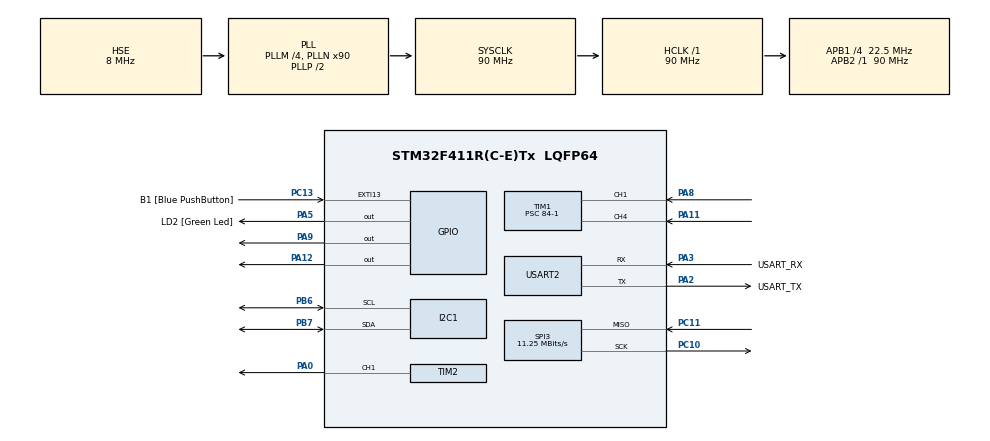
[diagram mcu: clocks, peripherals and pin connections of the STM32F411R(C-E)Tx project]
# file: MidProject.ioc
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Mcu.Family=STM32F4
Mcu.Name=STM32F411R(C-E)Tx
Mcu.Package=LQFP64
NVIC.PriorityGroup=NVIC_PRIORITYGROUP_0
NVIC.TIM1_CC_IRQn=true\:0\:0\:false\:false\:true\:true\:true
PA0-WKUP.Signal=S_TIM2_CH1_ETR
PA11.Signal=S_TIM1_CH4
PA12.Signal=GPIO_Output
PA13.GPIO_Label=TMS
PA13.Mode=Serial_Wire
PA13.Signal=SYS_JTMS-SWDIO
PA14.GPIO_Label=TCK
PA14.Mode=Serial_Wire
PA14.Signal=SYS_JTCK-SWCLK
PA2.GPIO_Label=USART_TX
PA2.Mode=Asynchronous
PA2.Signal=USART2_TX
PA3.GPIO_Label=USART_RX
PA3.Mode=Asynchronous
PA3.Signal=USART2_RX
PA5.GPIO_Label=LD2 [Green Led]
PA5.Signal=GPIO_Output
PA8.Signal=S_TIM1_CH1
PA9.Signal=GPIO_Output
PB3.GPIO_Label=SWO
PB3.Signal=SYS_JTDO-SWO
PB6.Mode=I2C
PB6.Signal=I2C1_SCL
PB7.Mode=I2C
PB7.Signal=I2C1_SDA
PC10.Mode=RX_Only_Simplex_Unidirect_Master
PC10.Signal=SPI3_SCK
PC11.Mode=RX_Only_Simplex_Unidirect_Master
PC11.Signal=SPI3_MISO
PC13-ANTI_TAMP.GPIO_Label=B1 [Blue PushButton]
PC13-ANTI_TAMP.GPIO_ModeDefaultEXTI=GPIO_MODE_IT_FALLING
PC13-ANTI_TAMP.Signal=GPXTI13
PC14-OSC32_IN.Mode=LSE-External-Oscillator
PC14-OSC32_IN.Signal=RCC_OSC32_IN
PC15-OSC32_OUT.Mode=LSE-External-Oscillator
PC15-OSC32_OUT.Signal=RCC_OSC32_OUT
PH0\ -\ OSC_IN.Mode=HSE-External-Clock-Source
PH0\ -\ OSC_IN.Signal=RCC_OSC_IN
PH1\ -\ OSC_OUT.Mode=HSE-External-Clock-Source
PH1\ -\ OSC_OUT.Signal=RCC_OSC_OUT
ProjectManager.HeapSize=0x200
ProjectManager.StackSize=0x400
ProjectManager.TargetToolchain=STM32CubeIDE
RCC.48MHZClocksFreq_Value=45000000
RCC.AHBFreq_Value=90000000
RCC.APB1CLKDivider=RCC_HCLK_DIV4
RCC.APB1Freq_Value=22500000
RCC.APB1TimFreq_Value=45000000
RCC.APB2Freq_Value=90000000
RCC.APB2TimFreq_Value=90000000
RCC.CortexFreq_Value=90000000
RCC.FLatency-AdvancedSettings=FLASH_LATENCY_2
RCC.HCLKFreq_Value=90000000
RCC.HSE_VALUE=8000000
RCC.HSI_VALUE=16000000
RCC.PLLM=4
RCC.PLLN=90
RCC.PLLSourceVirtual=RCC_PLLSOURCE_HSE
RCC.SYSCLKFreq_VALUE=90000000
RCC.SYSCLKSource=RCC_SYSCLKSOURCE_PLLCLK
RCC.VCOOutputFreq_Value=180000000
SH.S_TIM1_CH1.0=TIM1_CH1,Input_Capture1_from_TI1
SH.S_TIM1_CH4.0=TIM1_CH4,Input_Capture4_from_TI4
SH.S_TIM2_CH1_ETR.0=TIM2_CH1,PWM Generation1 CH1
SPI3.CalculateBaudRate=11.25 MBits/s
SPI3.Direction=SPI_DIRECTION_2LINES_RXONLY
SPI3.Mode=SPI_MODE_MASTER
SPI3.VirtualType=VM_MASTER
TIM1.Channel-Input_Capture1_from_TI1=TIM_CHANNEL_1
TIM1.Channel-Input_Capture4_from_TI4=TIM_CHANNEL_4
TIM1.Prescaler=84-1
TIM2.Channel-PWM\ Generation1\ CH1=TIM_CHANNEL_1
TIM2.Period=1000-1
TIM2.Prescaler=900-1
USART2.VirtualMode=VM_ASYNC
VP_TIM2_VS_ClockSourceINT.Mode=Internal
board=NUCLEO-F411RE

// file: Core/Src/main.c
/* USER CODE BEGIN Header */
/**
  ******************************************************************************
  * @file           : main.c
  * @brief          : Main program body
  ******************************************************************************
  * @attention
  *
  * <h2><center>&copy; Copyright (c) 2020 STMicroelectronics.
  * All rights reserved.</center></h2>
  *
  * This software component is licensed by ST under BSD 3-Clause license,
  * the "License"; You may not use this file except in compliance with the
  * License. You may obtain a copy of the License at:
  *                        opensource.org/licenses/BSD-3-Clause
  *
  ******************************************************************************
  */
/* USER CODE END Header */
#include "main.h"

/* USER CODE BEGIN Includes */
#include<string.h>
#include<stdio.h>
#include "i2c-lcd.h"
#include "hx711.h"
/* USER CODE END Includes */

I2C_HandleTypeDef hi2c1;

SPI_HandleTypeDef hspi3;

TIM_HandleTypeDef htim1;
TIM_HandleTypeDef htim2;

UART_HandleTypeDef huart2;

/* USER CODE BEGIN PV */
volatile int meres =0;
volatile int meresAtlag =0;
volatile int tarevalue=0;
/* USER CODE END PV */

void SystemClock_Config(void);
static void MX_GPIO_Init(void);
static void MX_USART2_UART_Init(void);
static void MX_TIM1_Init(void);
static void MX_I2C1_Init(void);
static void MX_TIM2_Init(void);
static void MX_SPI3_Init(void);

/* USER CODE BEGIN 0 */
uint32_t IC_Val1 = 0,IC_Val1_2= 0;
uint32_t IC_Val2 = 0,IC_Val2_2= 0;
uint32_t Difference = 0,Difference_2=0;
uint8_t Is_First_Captured = 0,Is_First_Captured_2 = 0;  // is the first value captured ?
float Distance  = 0,Distance_2  = 0;

void HAL_TIM_IC_CaptureCallback(TIM_HandleTypeDef *htim)
{
	if (htim->Channel == HAL_TIM_ACTIVE_CHANNEL_1)  // if the interrupt source is channel1
	{
		if (Is_First_Captured==0) // if the first value is not captured
		{
			IC_Val1 = HAL_TIM_ReadCapturedValue(htim, TIM_CHANNEL_1); // read the first value
			Is_First_Captured = 1;  // set the first captured as true
			// Now change the polarity to falling edge
			__HAL_TIM_SET_CAPTUREPOLARITY(htim, TIM_CHANNEL_1, TIM_INPUTCHANNELPOLARITY_FALLING);
		}

		else if (Is_First_Captured==1)   // if the first is already captured
		{
			IC_Val2 = HAL_TIM_ReadCapturedValue(htim, TIM_CHANNEL_1);  // read second value

			if (IC_Val2 > IC_Val1)
			{
				Difference = IC_Val2-IC_Val1;
			}

			else if (IC_Val1 > IC_Val2)
			{
				Difference = (0xffff - IC_Val1) + IC_Val2;
			}

			Distance = (float)Difference * .034/2;
			Is_First_Captured = 0; // set it back to false

			// set polarity to rising edge
			__HAL_TIM_SET_CAPTUREPOLARITY(htim, TIM_CHANNEL_1, TIM_INPUTCHANNELPOLARITY_RISING);
			__HAL_TIM_DISABLE_IT(&htim1, TIM_IT_CC1);

		}
	}

	if (htim->Channel == HAL_TIM_ACTIVE_CHANNEL_4)  // if the interrupt source is channel4
		{

			if (Is_First_Captured_2==0) // if the first value is not captured
			{
				IC_Val1_2 = HAL_TIM_ReadCapturedValue(htim, TIM_CHANNEL_4); // read the first value
				Is_First_Captured_2 = 1;  // set the first captured as true
				// Now change the polarity to falling edge
				__HAL_TIM_SET_CAPTUREPOLARITY(htim, TIM_CHANNEL_4, TIM_INPUTCHANNELPOLARITY_FALLING);
			}

			else if (Is_First_Captured_2==1)   // if the first is already captured
			{
				IC_Val2_2 = HAL_TIM_ReadCapturedValue(htim, TIM_CHANNEL_4);  // read second value
//				__HAL_TIM_SET_COUNTER(htim, 0);  // reset the counter

				if (IC_Val2_2 > IC_Val1_2)
				{
					Difference_2 = IC_Val2_2-IC_Val1_2;
				}

				else if (IC_Val1_2 > IC_Val2_2)
				{
					Difference_2 = (0xffff - IC_Val1_2) + IC_Val2_2;
				}

				Distance_2 = (float)Difference_2 * .034/2;
				Is_First_Captured_2 = 0; // set it back to false

				// set polarity to rising edge
				__HAL_TIM_SET_CAPTUREPOLARITY(htim, TIM_CHANNEL_4, TIM_INPUTCHANNELPOLARITY_RISING);
				__HAL_TIM_DISABLE_IT(&htim1, TIM_IT_CC4);
			}
		}

}

void HCSR04_Read (void)
{
	HAL_GPIO_WritePin(GPIOA, GPIO_PIN_9, GPIO_PIN_SET);   // pull the TRIG pin HIGH
	HAL_GPIO_WritePin(GPIOA, GPIO_PIN_12, GPIO_PIN_SET);  // pull the TRIG pin HIGH

	HAL_Delay(10);  // wait for 10 ms

	HAL_GPIO_WritePin(GPIOA, GPIO_PIN_9, GPIO_PIN_RESET);  // pull the TRIG pin low
	HAL_GPIO_WritePin(GPIOA, GPIO_PIN_12, GPIO_PIN_RESET);  // pull the TRIG pin low

	__HAL_TIM_ENABLE_IT(&htim1, TIM_IT_CC4);
	__HAL_TIM_ENABLE_IT(&htim1, TIM_IT_CC1);
}

int HX711_Value2()
{
    int buffer;
    buffer = 0;

   if(HAL_GPIO_ReadPin(GPIOC, GPIO_PIN_11)==1) return buffer;

    for (uint8_t i = 0; i < 24; i++)
    {
    	HAL_GPIO_WritePin(GPIOC, GPIO_PIN_10, GPIO_PIN_SET);

        buffer = buffer << 1 ;

        if (HAL_GPIO_ReadPin(GPIOC, GPIO_PIN_11))
        {
            buffer ++;
        }

        HAL_GPIO_WritePin(GPIOC, GPIO_PIN_10, GPIO_PIN_RESET);
    }

    for (int i = 0; i <64 ; i++)
    {
    	HAL_GPIO_WritePin(GPIOC, GPIO_PIN_10, GPIO_PIN_SET);
    	HAL_GPIO_WritePin(GPIOC, GPIO_PIN_10, GPIO_PIN_RESET);
    }

    buffer = buffer ^ 0x800000;

    return buffer;
}

/* USER CODE END 0 */

int main(void)
{
  /* USER CODE BEGIN 1 */
	  HX711 hx11;
	  hx11.gpioSck = GPIOC; // HS711SCK_GPIO_Port;
	  hx11.gpioData = GPIOC;
	  hx11.pinSck = GPIO_PIN_10;
	  hx11.pinData = GPIO_PIN_11;
	  hx11.offset = 0;
	  hx11.gain = 24;
  /* USER CODE END 1 */

  /* MCU Configuration--------------------------------------------------------*/

  /* Reset of all peripherals, Initializes the Flash interface and the Systick. */
  HAL_Init();

  /* Configure the system clock */
  SystemClock_Config();

  /* Initialize all configured peripherals */
  MX_GPIO_Init();
  MX_USART2_UART_Init();
  MX_TIM1_Init();
  MX_I2C1_Init();
  MX_TIM2_Init();
  MX_SPI3_Init();
  /* USER CODE BEGIN 2 */
  HAL_TIM_IC_Start_IT(&htim1, TIM_CHANNEL_1);
  HAL_TIM_IC_Start_IT(&htim1, TIM_CHANNEL_4);

  lcd_init();
  HAL_TIM_PWM_Start (&htim2, TIM_CHANNEL_1); //start the PMW
  htim2.Instance->CCR1 = 75;
  HAL_Delay (100);

  HX711_Init(hx11);

  /* USER CODE END 2 */

  /* Infinite loop */
  /* USER CODE BEGIN WHILE */

  int count = 0,stateDoor = 0,mode = 0;
  char str[50],str2[50];
  while (1)
  {
	  HCSR04_Read();
	  meres = HX711_Value2();
	  //calibate 1  float weight = meres*(0.0025617)-21721 ; 			(9/23/2020 0 : 84xxxxxx)
	  //calibate 2  float weight = meres*(0.002378401)- 20252.24955;	(0 : 8514832)
	  //calibate 3  float weight = meres*(0.005643482)- 47713.94889;
	  float weight = meres*(0.002378401)- 20252.24955;

	  if(weight < 0) weight = 0;

  	  float volume = (Distance_2/30.0)*100.0;
  	  if(volume > 100.0) volume = 100.0;

    /* USER CODE END WHILE */

    /* USER CODE BEGIN 3 */

	  	  if (HAL_GPIO_ReadPin(GPIOC, GPIO_PIN_13) == 0) {
	 			  // Magic, let's wait for a bit
	 			  HAL_Delay(10);
	 			  // It is really still down
	 			  if (HAL_GPIO_ReadPin(GPIOC, GPIO_PIN_13) == 0) {
	 				  // Wait while the button is still down
	 				  while(HAL_GPIO_ReadPin(GPIOC, GPIO_PIN_13) == 0);
	 				  HAL_Delay(10);
	 				  // Button is hit
	 				  mode = !mode;
	 			  }

	 			  if(mode) stateDoor = 1;
	 			  else {
	 				  		stateDoor = 0;
	 				  	  	count = 10;
	 			  }

	 		  }
	  	  else{
	  		  	  if( Distance <= 15.0  ){
	  					  if(weight<=500.0 && volume>20.0 )	stateDoor = 1;
	  					  else if(stateDoor && !(weight<=500.0 && volume>20.0 )) stateDoor = 1;
	  				  }
	  		  	 else if(Distance > 15.0 ) stateDoor = 0;

	  	  }

	  	sprintf(str,"|W| = %.2f g",weight);

		  if(count <=0 || count >= 10){

			  	  if(stateDoor || mode){
			  			  //opened
			  			  sprintf(str2,"Door open ");
			  			  htim2.Instance->CCR1 = 25;
			  			  count = 1;
			  		  }
			  	  else{
			  			  //closed
			  			  sprintf(str2,"|%%| = %.2f %%",volume);
			  			  if(count >= 10) sprintf(str2,"Door closing");
			  			  htim2.Instance->CCR1 = 75;
			  			  count = 0;
			  		  }
		  }
		  else {
			  sprintf(str2,"Door open ");
			  count++;
		  }

		  if(!((weight<=500.0 && volume>20.0 ))) sprintf(str2,"Garbage Full");

		  lcd_put_cur(0,0);
		  lcd_send_string(str);
		  lcd_put_cur(1,0);
		  lcd_send_string(str2);

	  		sprintf(str,"distance = %f,%f cm w = %f,m = %d|co = %d|std = %d\r\n",Distance,Distance_2,weight,meres,count,stateDoor);
	  	  	HAL_UART_Transmit(&huart2,str,strlen(str),1000);

	  	  	HAL_Delay(200);
	  	  	lcd_clear();

  	  }

  /* USER CODE END 3 */
}

void SystemClock_Config(void)
{
  RCC_OscInitTypeDef RCC_OscInitStruct = {0};
  RCC_ClkInitTypeDef RCC_ClkInitStruct = {0};

  /** Configure the main internal regulator output voltage
  */
  __HAL_RCC_PWR_CLK_ENABLE();
  __HAL_PWR_VOLTAGESCALING_CONFIG(PWR_REGULATOR_VOLTAGE_SCALE1);
  /** Initializes the RCC Oscillators according to the specified parameters
  * in the RCC_OscInitTypeDef structure.
  */
  RCC_OscInitStruct.OscillatorType = RCC_OSCILLATORTYPE_HSE;
  RCC_OscInitStruct.HSEState = RCC_HSE_BYPASS;
  RCC_OscInitStruct.PLL.PLLState = RCC_PLL_ON;
  RCC_OscInitStruct.PLL.PLLSource = RCC_PLLSOURCE_HSE;
  RCC_OscInitStruct.PLL.PLLM = 4;
  RCC_OscInitStruct.PLL.PLLN = 90;
  RCC_OscInitStruct.PLL.PLLP = RCC_PLLP_DIV2;
  RCC_OscInitStruct.PLL.PLLQ = 4;
  if (HAL_RCC_OscConfig(&RCC_OscInitStruct) != HAL_OK)
  {
    Error_Handler();
  }
  /** Initializes the CPU, AHB and APB buses clocks
  */
  RCC_ClkInitStruct.ClockType = RCC_CLOCKTYPE_HCLK|RCC_CLOCKTYPE_SYSCLK
                              |RCC_CLOCKTYPE_PCLK1|RCC_CLOCKTYPE_PCLK2;
  RCC_ClkInitStruct.SYSCLKSource = RCC_SYSCLKSOURCE_PLLCLK;
  RCC_ClkInitStruct.AHBCLKDivider = RCC_SYSCLK_DIV1;
  RCC_ClkInitStruct.APB1CLKDivider = RCC_HCLK_DIV4;
  RCC_ClkInitStruct.APB2CLKDivider = RCC_HCLK_DIV1;

  if (HAL_RCC_ClockConfig(&RCC_ClkInitStruct, FLASH_LATENCY_2) != HAL_OK)
  {
    Error_Handler();
  }
}

static void MX_I2C1_Init(void)
{

  hi2c1.Instance = I2C1;
  hi2c1.Init.ClockSpeed = 100000;
  hi2c1.Init.DutyCycle = I2C_DUTYCYCLE_2;
  hi2c1.Init.OwnAddress1 = 0;
  hi2c1.Init.AddressingMode = I2C_ADDRESSINGMODE_7BIT;
  hi2c1.Init.DualAddressMode = I2C_DUALADDRESS_DISABLE;
  hi2c1.Init.OwnAddress2 = 0;
  hi2c1.Init.GeneralCallMode = I2C_GENERALCALL_DISABLE;
  hi2c1.Init.NoStretchMode = I2C_NOSTRETCH_DISABLE;
  if (HAL_I2C_Init(&hi2c1) != HAL_OK)
  {
    Error_Handler();
  }

}

static void MX_SPI3_Init(void)
{

  /* SPI3 parameter configuration*/
  hspi3.Instance = SPI3;
  hspi3.Init.Mode = SPI_MODE_MASTER;
  hspi3.Init.Direction = SPI_DIRECTION_2LINES_RXONLY;
  hspi3.Init.DataSize = SPI_DATASIZE_8BIT;
  hspi3.Init.CLKPolarity = SPI_POLARITY_LOW;
  hspi3.Init.CLKPhase = SPI_PHASE_1EDGE;
  hspi3.Init.NSS = SPI_NSS_SOFT;
  hspi3.Init.BaudRatePrescaler = SPI_BAUDRATEPRESCALER_2;
  hspi3.Init.FirstBit = SPI_FIRSTBIT_MSB;
  hspi3.Init.TIMode = SPI_TIMODE_DISABLE;
  hspi3.Init.CRCCalculation = SPI_CRCCALCULATION_DISABLE;
  hspi3.Init.CRCPolynomial = 10;
  if (HAL_SPI_Init(&hspi3) != HAL_OK)
  {
    Error_Handler();
  }

}

static void MX_TIM1_Init(void)
{

  TIM_MasterConfigTypeDef sMasterConfig = {0};
  TIM_IC_InitTypeDef sConfigIC = {0};

  htim1.Instance = TIM1;
  htim1.Init.Prescaler = 84-1;
  htim1.Init.CounterMode = TIM_COUNTERMODE_UP;
  htim1.Init.Period = 65535;
  htim1.Init.ClockDivision = TIM_CLOCKDIVISION_DIV1;
  htim1.Init.RepetitionCounter = 0;
  htim1.Init.AutoReloadPreload = TIM_AUTORELOAD_PRELOAD_DISABLE;
  if (HAL_TIM_IC_Init(&htim1) != HAL_OK)
  {
    Error_Handler();
  }
  sMasterConfig.MasterOutputTrigger = TIM_TRGO_RESET;
  sMasterConfig.MasterSlaveMode = TIM_MASTERSLAVEMODE_DISABLE;
  if (HAL_TIMEx_MasterConfigSynchronization(&htim1, &sMasterConfig) != HAL_OK)
  {
    Error_Handler();
  }
  sConfigIC.ICPolarity = TIM_INPUTCHANNELPOLARITY_RISING;
  sConfigIC.ICSelection = TIM_ICSELECTION_DIRECTTI;
  sConfigIC.ICPrescaler = TIM_ICPSC_DIV1;
  sConfigIC.ICFilter = 0;
  if (HAL_TIM_IC_ConfigChannel(&htim1, &sConfigIC, TIM_CHANNEL_1) != HAL_OK)
  {
    Error_Handler();
  }
  if (HAL_TIM_IC_ConfigChannel(&htim1, &sConfigIC, TIM_CHANNEL_4) != HAL_OK)
  {
    Error_Handler();
  }

}

static void MX_TIM2_Init(void)
{

  TIM_ClockConfigTypeDef sClockSourceConfig = {0};
  TIM_MasterConfigTypeDef sMasterConfig = {0};
  TIM_OC_InitTypeDef sConfigOC = {0};

  htim2.Instance = TIM2;
  htim2.Init.Prescaler = 900-1;
  htim2.Init.CounterMode = TIM_COUNTERMODE_UP;
  htim2.Init.Period = 1000-1;
  htim2.Init.ClockDivision = TIM_CLOCKDIVISION_DIV1;
  htim2.Init.AutoReloadPreload = TIM_AUTORELOAD_PRELOAD_DISABLE;
  if (HAL_TIM_Base_Init(&htim2) != HAL_OK)
  {
    Error_Handler();
  }
  sClockSourceConfig.ClockSource = TIM_CLOCKSOURCE_INTERNAL;
  if (HAL_TIM_ConfigClockSource(&htim2, &sClockSourceConfig) != HAL_OK)
  {
    Error_Handler();
  }
  if (HAL_TIM_PWM_Init(&htim2) != HAL_OK)
  {
    Error_Handler();
  }
  sMasterConfig.MasterOutputTrigger = TIM_TRGO_RESET;
  sMasterConfig.MasterSlaveMode = TIM_MASTERSLAVEMODE_DISABLE;
  if (HAL_TIMEx_MasterConfigSynchronization(&htim2, &sMasterConfig) != HAL_OK)
  {
    Error_Handler();
  }
  sConfigOC.OCMode = TIM_OCMODE_PWM1;
  sConfigOC.Pulse = 0;
  sConfigOC.OCPolarity = TIM_OCPOLARITY_HIGH;
  sConfigOC.OCFastMode = TIM_OCFAST_DISABLE;
  if (HAL_TIM_PWM_ConfigChannel(&htim2, &sConfigOC, TIM_CHANNEL_1) != HAL_OK)
  {
    Error_Handler();
  }
  HAL_TIM_MspPostInit(&htim2);

}

static void MX_USART2_UART_Init(void)
{

  huart2.Instance = USART2;
  huart2.Init.BaudRate = 115200;
  huart2.Init.WordLength = UART_WORDLENGTH_8B;
  huart2.Init.StopBits = UART_STOPBITS_1;
  huart2.Init.Parity = UART_PARITY_NONE;
  huart2.Init.Mode = UART_MODE_TX_RX;
  huart2.Init.HwFlowCtl = UART_HWCONTROL_NONE;
  huart2.Init.OverSampling = UART_OVERSAMPLING_16;
  if (HAL_UART_Init(&huart2) != HAL_OK)
  {
    Error_Handler();
  }

}

static void MX_GPIO_Init(void)
{
  GPIO_InitTypeDef GPIO_InitStruct = {0};

  /* GPIO Ports Clock Enable */
  __HAL_RCC_GPIOC_CLK_ENABLE();
  __HAL_RCC_GPIOH_CLK_ENABLE();
  __HAL_RCC_GPIOA_CLK_ENABLE();
  __HAL_RCC_GPIOB_CLK_ENABLE();

  /*Configure GPIO pin Output Level */
  HAL_GPIO_WritePin(GPIOA, LD2_Pin|GPIO_PIN_9|GPIO_PIN_12, GPIO_PIN_RESET);

  /*Configure GPIO pin : B1_Pin */
  GPIO_InitStruct.Pin = B1_Pin;
  GPIO_InitStruct.Mode = GPIO_MODE_IT_FALLING;
  GPIO_InitStruct.Pull = GPIO_NOPULL;
  HAL_GPIO_Init(B1_GPIO_Port, &GPIO_InitStruct);

  /*Configure GPIO pins : LD2_Pin PA9 PA12 */
  GPIO_InitStruct.Pin = LD2_Pin|GPIO_PIN_9|GPIO_PIN_12;
  GPIO_InitStruct.Mode = GPIO_MODE_OUTPUT_PP;
  GPIO_InitStruct.Pull = GPIO_NOPULL;
  GPIO_InitStruct.Speed = GPIO_SPEED_FREQ_LOW;
  HAL_GPIO_Init(GPIOA, &GPIO_InitStruct);

}

void Error_Handler(void)
{
}

/************************ (C) COPYRIGHT STMicroelectronics *****END OF FILE****/
